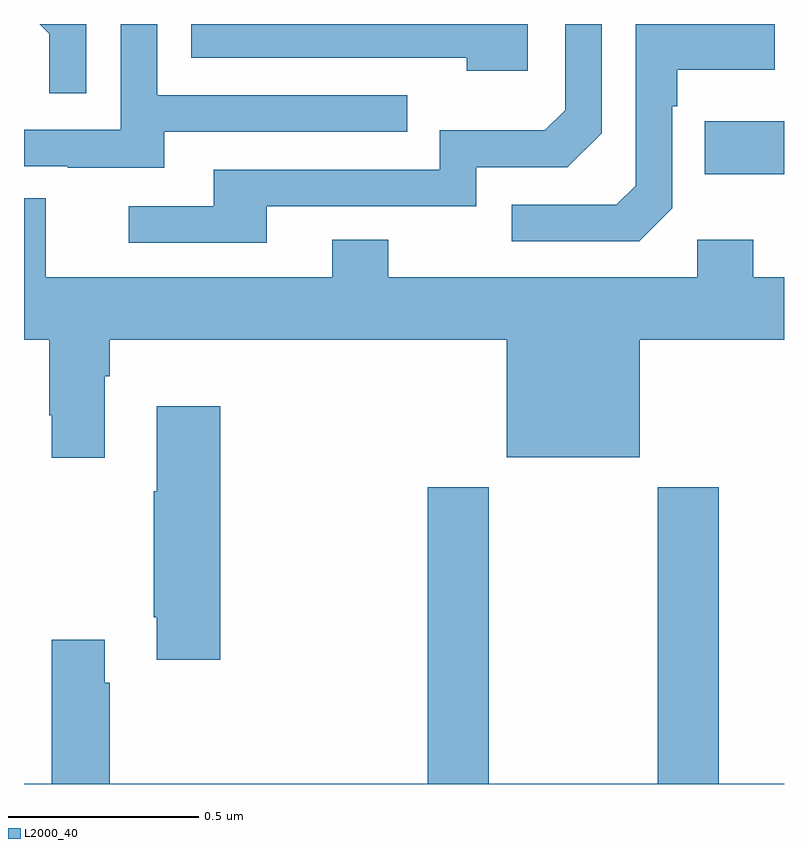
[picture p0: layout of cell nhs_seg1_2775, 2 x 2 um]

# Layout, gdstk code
import gdstk
lib = gdstk.Library(unit=1e-6, precision=1e-09)
def R(c, l, rs):  # rectangles x0, y0, x1, y1
    for r in rs: c.add(gdstk.rectangle(r[:2], r[2:], *l))
def P(c, l, *ps):  # polygons
    for p in ps: c.add(gdstk.Polygon(p, *l))
L2000_40 = (2000, 40)

nhs_seg1_2775 = lib.new_cell('nhs_seg1_2775')
R(nhs_seg1_2775, L2000_40, [(146.791,582.803,147,582.943)])
P(nhs_seg1_2775, L2000_40, [(145.639,582.72),(146.19,582.72),(146.19,582.822),(146.43,582.822),(146.52,582.912),(146.52,583.199),(146.424,583.199),(146.424,582.972),(146.371,582.919),(146.094,582.919),(146.094,582.816),(145.499,582.816),(145.499,582.72),(145.275,582.72),(145.275,582.624),(145.639,582.624)],
  [(146.706,582.714),(146.706,582.983),(146.719,582.983),(146.719,583.079),(146.975,583.079),(146.975,583.199),(146.61,583.199),(146.61,582.774),(146.559,582.723),(146.283,582.723),(146.283,582.627),(146.619,582.627)],
  [(145.164,583.199),(145.041,583.199),(145.067,583.173),(145.067,583.017),(145.164,583.017)],
  [(145.369,582.915),(146.009,582.915),(146.009,583.011),(145.35,583.011),(145.35,583.199),(145.254,583.199),(145.254,582.921),(145,582.921),(145,582.825),(145.115,582.825),(145.115,582.821),(145.369,582.821)],
  [(146.326,583.199),(145.44,583.199),(145.44,583.11),(146.165,583.11),(146.165,583.076),(146.326,583.076)],
  [(146.27,582.059),(146.62,582.059),(146.62,582.368),(147,582.368),(147,582.532),(146.919,582.532),(146.919,582.631),(146.772,582.631),(146.772,582.532),(145.959,582.532),(145.959,582.631),(145.811,582.631),(145.811,582.532),(145.057,582.532),(145.057,582.74),(145,582.74),(145,582.368),(145.066,582.368),(145.066,582.169),(145.073,582.169),(145.073,582.057),(145.213,582.057),(145.213,582.272),(145.226,582.272),(145.226,582.368),(146.27,582.368)],
  [(145.517,582.193),(145.349,582.193),(145.349,581.969),(145.342,581.969),(145.342,581.638),(145.349,581.638),(145.349,581.526),(145.517,581.526)],
  [(147,581.2),(146.828,581.2),(146.828,581.98),(146.668,581.98),(146.668,581.2),(146.223,581.2),(146.223,581.98),(146.063,581.98),(146.063,581.2),(145.226,581.2),(145.226,581.465),(145.213,581.465),(145.213,581.578),(145.073,581.578),(145.073,581.2),(145,581.2),(145,581.199),(147,581.199)])

lib.write_gds('nhs_seg1_2775.gds')
